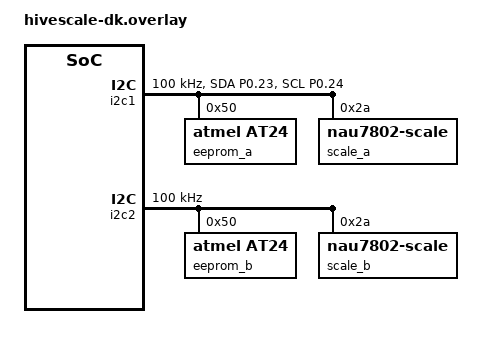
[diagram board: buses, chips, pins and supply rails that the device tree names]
/*
 * Copyright (c) 2023 Achim Kraus CloudCoap.net
 *
 * See the NOTICE file(s) distributed with this work for additional
 * information regarding copyright ownership.
 *
 * This program and the accompanying materials are made available under the
 * terms of the Eclipse Public License 2.0 which is available at
 * http: //www.eclipse.org/legal/epl-2.0
 *
 * SPDX-License-Identifier: EPL-2.0
 */

/*
 * Usage:
 *
 * west build -d build_nrf9160dk_nrf9160_ns -b nrf9160dk_nrf9160_ns --pristine -- \
 *    -DOVERLAY_CONFIG="hivescale-prj.conf" -DDTC_OVERLAY_FILE="hivescale-dk.overlay"
 */

#include "boards/nrf9160dk_nrf9160_ns.overlay"

&pinctrl {

	i2c1_default: i2c1_default {
		group1 {
			psels = <NRF_PSEL(TWIM_SDA, 0, 23)>,
					<NRF_PSEL(TWIM_SCL, 0, 24)>;
		};
	};

	i2c1_sleep: i2c1_sleep {
		group1 {
			psels = <NRF_PSEL(TWIM_SDA, 0, 23)>,
					<NRF_PSEL(TWIM_SCL, 0, 24)>;
			low-power-enable;
		};
	};
};

/ {
	/* Map the devices to the aliases of the application. */
	aliases {

		scale-a = &scale_a;
		scale-b = &scale_b;
	};

};

&uart1 {
	status = "disabled";
};

&i2c1 {
	compatible = "nordic,nrf-twim";
	status = "okay";
	pinctrl-0 = <&i2c1_default>;
	pinctrl-1 = <&i2c1_sleep>;
	pinctrl-names = "default", "sleep";
	clock-frequency = <I2C_BITRATE_STANDARD>;

	eeprom_a: eeprom@50 {
		/* AT24HC04B (4 kbit eeprom) */
		/* 0x8000 config register not accessible! If required, set size to 64K */
		compatible = "atmel,at24";
		reg = <0x50>;
		size = <512>;
		pagesize = <16>;
		address-width = <8>;
		timeout = <5>;
	};

	scale_a: scale@2a {
		compatible = "nau7802-scale";
		reg = <0x2a>;
		avref_mv = <2700>;
		gain = <64>;
		calibration_storage = <&eeprom_a>;
	};


};

&i2c2 {
	clock-frequency = <I2C_BITRATE_STANDARD>;

	eeprom_b: eeprom@50 {
		/* AT24HC04B (4 kbit eeprom) */
		/* 0x8000 config register not accessible! If required, set size to 64K */
		compatible = "atmel,at24";
		reg = <0x50>;
		size = <512>;
		pagesize = <16>;
		address-width = <8>;
		timeout = <5>;
	};

	scale_b: scale@2a {
		compatible = "nau7802-scale";
		reg = <0x2a>;
		avref_mv = <2700>;
		gain = <64>;
		calibration_storage = <&eeprom_b>;
	};
};
